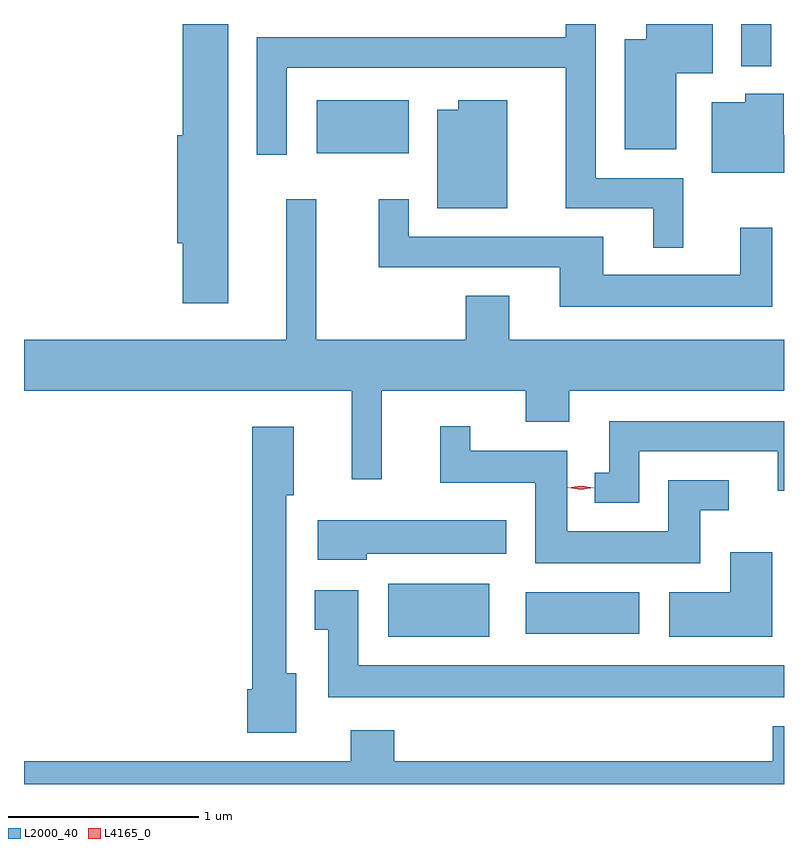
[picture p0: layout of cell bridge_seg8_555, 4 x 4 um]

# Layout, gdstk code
import gdstk
lib = gdstk.Library(unit=1e-6, precision=1e-09)
def R(c, l, rs):  # rectangles x0, y0, x1, y1
    for r in rs: c.add(gdstk.rectangle(r[:2], r[2:], *l))
def P(c, l, *ps):  # polygons
    for p in ps: c.add(gdstk.Polygon(p, *l))
L2000_40 = (2000, 40)
L4165_0 = (4165, 0)

bridge_seg8_555 = lib.new_cell('bridge_seg8_555')
R(bridge_seg8_555, L2000_40, [(580.456,1819.581,580.989,1819.859), (581.181,1819.596,581.779,1819.814), (580.081,1822.126,580.564,1822.404), (582.316,1822.583,582.474,1822.805)])
P(bridge_seg8_555, L2000_40, [(582.009,1821.994),(581.549,1821.994),(581.549,1822.805),(581.391,1822.805),(581.391,1822.734),(579.766,1822.734),(579.766,1822.118),(579.924,1822.118),(579.924,1822.576),(581.391,1822.576),(581.391,1821.836),(581.851,1821.836),(581.851,1821.628),(582.009,1821.628)],
  [(581.974,1822.546),(582.164,1822.546),(582.164,1822.805),(581.816,1822.805),(581.816,1822.724),(581.701,1822.724),(581.701,1822.146),(581.974,1822.146)],
  [(579.614,1822.805),(579.376,1822.805),(579.376,1822.219),(579.346,1822.219),(579.346,1821.651),(579.376,1821.651),(579.376,1821.336),(579.614,1821.336)],
  [(582.54,1822.219),(582.539,1822.219),(582.539,1822.439),(582.336,1822.439),(582.336,1822.394),(582.161,1822.394),(582.161,1822.021),(582.54,1822.021)],
  [(581.084,1822.404),(580.826,1822.404),(580.826,1822.354),(580.716,1822.354),(580.716,1821.836),(581.084,1821.836)],
  [(580.424,1820.876),(581.181,1820.876),(581.181,1820.711),(581.409,1820.711),(581.409,1820.876),(582.54,1820.876),(582.54,1821.144),(581.094,1821.144),(581.094,1821.374),(580.866,1821.374),(580.866,1821.144),(580.079,1821.144),(580.079,1821.883),(579.921,1821.883),(579.921,1821.144),(578.54,1821.144),(578.54,1820.876),(580.266,1820.876),(580.266,1820.408),(580.424,1820.408)],
  [(582.479,1821.733),(582.311,1821.733),(582.311,1821.484),(581.589,1821.484),(581.589,1821.684),(580.564,1821.684),(580.564,1821.883),(580.406,1821.883),(580.406,1821.526),(581.361,1821.526),(581.361,1821.316),(582.479,1821.316)],
  [(581.779,1820.556),(582.506,1820.556),(582.506,1820.348),(582.54,1820.348),(582.54,1820.714),(581.621,1820.714),(581.621,1820.444),(581.543,1820.444),(581.543,1820.286),(581.779,1820.286)],
  [(582.099,1820.246),(582.248,1820.246),(582.248,1820.404),(581.931,1820.404),(581.931,1820.134),(581.399,1820.134),(581.399,1820.559),(580.889,1820.559),(580.889,1820.688),(580.731,1820.688),(580.731,1820.391),(581.231,1820.391),(581.231,1819.966),(582.099,1819.966)],
  [(579.974,1819.389),(579.919,1819.389),(579.919,1820.326),(579.959,1820.326),(579.959,1820.684),(579.741,1820.684),(579.741,1819.304),(579.716,1819.304),(579.716,1819.076),(579.974,1819.076)],
  [(580.344,1820.016),(581.079,1820.016),(581.079,1820.194),(580.086,1820.194),(580.086,1819.986),(580.344,1819.986)],
  [(582.479,1820.024),(582.256,1820.024),(582.256,1819.814),(581.936,1819.814),(581.936,1819.581),(582.479,1819.581)],
  [(582.54,1819.429),(580.299,1819.429),(580.299,1819.824),(580.071,1819.824),(580.071,1819.616),(580.141,1819.616),(580.141,1819.261),(582.54,1819.261)],
  [(580.261,1819.089),(580.261,1818.924),(578.54,1818.924),(578.54,1818.805),(582.54,1818.805),(582.54,1819.109),(582.481,1819.109),(582.481,1818.924),(580.489,1818.924),(580.489,1819.089)])
P(bridge_seg8_555, L4165_0, [(581.471,1820.354),(581.402,1820.363),(581.402,1820.363),(581.402,1820.364),(581.471,1820.374),(581.541,1820.364),(581.541,1820.364),(581.541,1820.363)])

lib.write_gds('bridge_seg8_555.gds')
